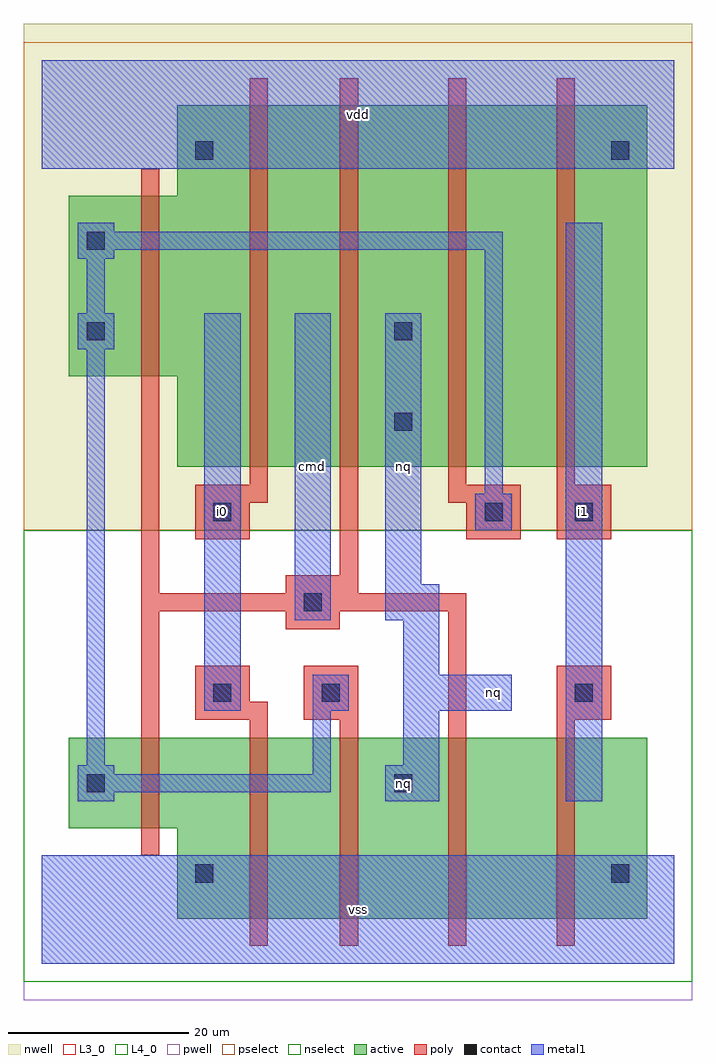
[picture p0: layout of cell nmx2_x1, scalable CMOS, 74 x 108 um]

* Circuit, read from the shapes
.subckt nmx2_x1 cmd i0 i1 nq vdd vss
M1 vss cmd n1 VSUBS nfet w=10u l=2u
M2 n2 i0 vss VSUBS nfet w=20u l=2u
M3 nq n1 n2 VSUBS nfet w=20u l=2u
M4 n3 cmd nq VSUBS nfet w=20u l=2u
M5 vss i1 n3 VSUBS nfet w=20u l=2u
M6 vdd cmd n1 n4 pfet w=20u l=2u
M7 n5 i0 vdd n4 pfet w=40u l=2u
M8 nq cmd n5 n4 pfet w=40u l=2u
M9 n6 n1 nq n4 pfet w=40u l=2u
M10 vdd i1 n6 n4 pfet w=40u l=2u
.ends

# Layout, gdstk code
import gdstk
lib = gdstk.Library(unit=1e-6, precision=1e-09)
def R(c, l, rs):  # rectangles x0, y0, x1, y1
    for r in rs: c.add(gdstk.rectangle(r[:2], r[2:], *l))
L3_0 = (3, 0)
L4_0 = (4, 0)
contact = (25, 0)
pwell = (41, 0)
nwell = (42, 0)
active = (43, 0)
pselect = (44, 0)
nselect = (45, 0)
poly = (46, 0)
metal1 = (49, 0)

nmx2_x1 = lib.new_cell('nmx2_x1')
R(nmx2_x1, L3_0, [(15,5,67,15), (3,15,67,25)])
R(nmx2_x1, L4_0, [(15,55,67,65), (3,65,67,85), (15,85,67,95)])
R(nmx2_x1, contact, [(17,9,19,11), (63,9,65,11), (5,19,7,21), (39,19,41,21), (19,29,21,31), (31,29,33,31), (59,29,61,31), (29,39,31,41), (19,49,21,51), (49,49,51,51), (59,49,61,51), (39,59,41,61), (5,69,7,71), (39,69,41,71), (5,79,7,81), (17,89,19,91), (63,89,65,91)])
R(nmx2_x1, pwell, [(-2,-4,72,48)])
R(nmx2_x1, nwell, [(-2,48,72,104)])
R(nmx2_x1, active, [(15,5,67,15), (3,15,67,25), (15,55,67,65), (3,65,67,85), (15,85,67,95)])
R(nmx2_x1, pselect, [(-2,48,72,102)])
R(nmx2_x1, nselect, [(-2,-2,72,48)])
R(nmx2_x1, poly, [(23,2,25,27), (33,2,35,27), (45,2,47,39), (57,2,59,27), (11,12,13,39), (17,27,25,29), (29,27,35,33), (57,27,63,33), (17,29,23,33), (27,37,33,39), (11,39,47,41), (11,41,13,88), (27,41,35,43), (33,43,35,98), (17,47,23,51), (47,47,53,51), (57,47,63,53), (17,51,25,53), (45,51,53,53), (23,53,25,98), (45,53,47,98), (57,53,59,98)])
R(nmx2_x1, metal1, [(0,0,70,12), (4,18,8,19), (38,18,44,22), (58,18,62,82), (4,19,32,21), (4,21,8,22), (30,21,32,28), (5,22,7,68), (40,22,44,28), (18,28,22,72), (30,28,34,32), (40,28,52,32), (40,32,44,38), (28,38,32,72), (38,38,44,42), (38,42,42,72), (48,48,52,52), (49,52,51,79), (4,68,8,72), (5,72,7,78), (4,78,8,79), (4,79,51,81), (4,81,8,82), (0,88,70,100)])
nmx2_x1.add(gdstk.Label('cmd', (30,55), layer=49, texttype=0))
nmx2_x1.add(gdstk.Label('i0', (20,50), layer=49, texttype=0))
nmx2_x1.add(gdstk.Label('nq', (40,20), layer=49, texttype=0))
nmx2_x1.add(gdstk.Label('vss', (35,6), layer=49, texttype=0))
nmx2_x1.add(gdstk.Label('nq', (50,30), layer=49, texttype=0))
nmx2_x1.add(gdstk.Label('nq', (40,55), layer=49, texttype=0))
nmx2_x1.add(gdstk.Label('vdd', (35,94), layer=49, texttype=0))
nmx2_x1.add(gdstk.Label('i1', (60,50), layer=49, texttype=0))

lib.write_gds('nmx2_x1.gds')
